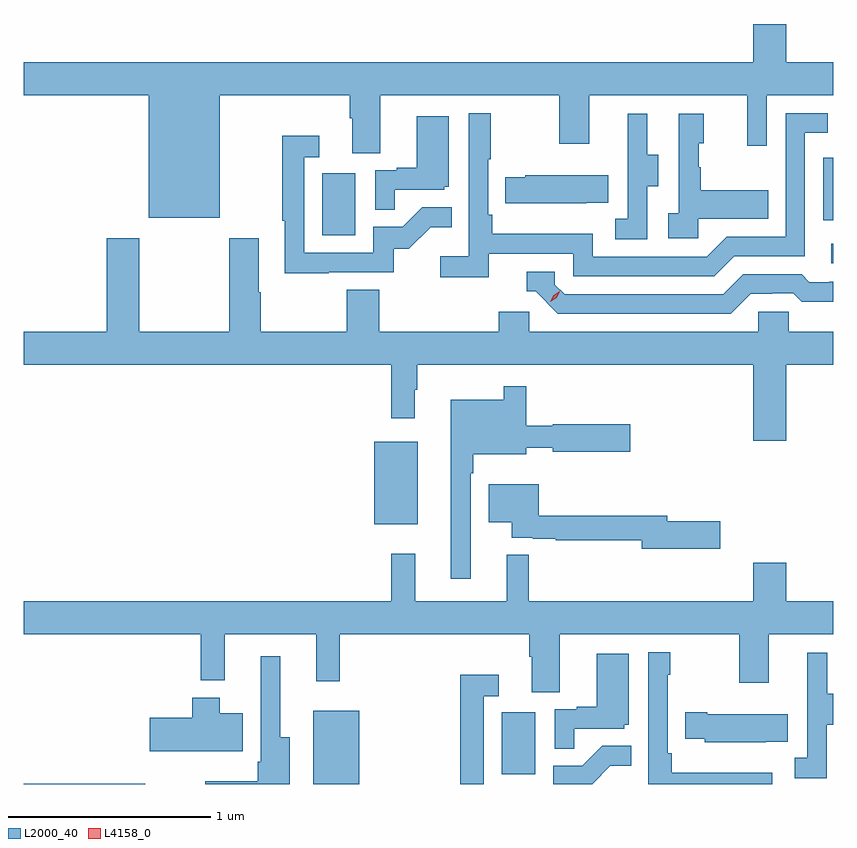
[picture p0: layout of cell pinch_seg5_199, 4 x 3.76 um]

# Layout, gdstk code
import gdstk
lib = gdstk.Library(unit=1e-6, precision=1e-09)
def R(c, l, rs):  # rectangles x0, y0, x1, y1
    for r in rs: c.add(gdstk.rectangle(r[:2], r[2:], *l))
def P(c, l, *ps):  # polygons
    for p in ps: c.add(gdstk.Polygon(p, *l))
L2000_40 = (2000, 40)
L4158_0 = (4158, 0)

pinch_seg5_199 = lib.new_cell('pinch_seg5_199')
R(pinch_seg5_199, L2000_40, [(988.575,893.316,989.175,893.318), (990.005,893.316,990.232,893.677), (990.938,893.364,991.102,893.671), (990.308,894.599,990.523,895.009), (992.565,895.89,992.575,895.986), (990.05,896.028,990.214,896.335), (992.526,896.103,992.575,896.412)])
P(pinch_seg5_199, L2000_40, [(989.542,896.72),(990.185,896.72),(990.185,896.608),(990.197,896.608),(990.197,896.434),(990.337,896.434),(990.337,896.72),(991.222,896.72),(991.222,896.481),(991.369,896.481),(991.369,896.72),(992.15,896.72),(992.15,896.472),(992.247,896.472),(992.247,896.72),(992.575,896.72),(992.575,896.884),(992.344,896.884),(992.344,897.073),(992.18,897.073),(992.18,896.884),(988.575,896.884),(988.575,896.72),(989.192,896.72),(989.192,896.114),(989.542,896.114)],
  [(990.872,895.938),(991.29,895.938),(991.29,895.827),(991.987,895.827),(992.086,895.926),(992.436,895.926),(992.436,896.535),(992.549,896.535),(992.549,896.631),(992.34,896.631),(992.34,896.022),(992.049,896.022),(991.95,895.923),(991.386,895.923),(991.386,896.035),(990.89,896.035),(990.89,896.131),(990.87,896.131),(990.87,896.404),(990.883,896.404),(990.883,896.632),(990.774,896.632),(990.774,895.924),(990.633,895.924),(990.633,895.822),(990.872,895.822)],
  [(991.908,896.111),(992.255,896.111),(992.255,896.251),(991.921,896.251),(991.921,896.366),(991.911,896.366),(991.911,896.484),(991.936,896.484),(991.936,896.629),(991.812,896.629),(991.812,896.138),(991.761,896.138),(991.761,896.013),(991.908,896.013)],
  [(991.656,896.272),(991.711,896.272),(991.711,896.427),(991.657,896.427),(991.657,896.629),(991.559,896.629),(991.559,896.415),(991.56,896.415),(991.56,896.111),(991.497,896.111),(991.497,896.008),(991.656,896.008)],
  [(990.407,896.253),(990.654,896.253),(990.654,896.268),(990.676,896.268),(990.676,896.617),(990.518,896.617),(990.518,896.362),(990.419,896.362),(990.419,896.349),(990.312,896.349),(990.312,896.155),(990.407,896.155)],
  [(990.083,895.845),(990.402,895.845),(990.402,895.962),(990.478,895.962),(990.585,896.069),(990.689,896.069),(990.689,896.168),(990.545,896.168),(990.447,896.07),(990.303,896.07),(990.303,895.941),(989.961,895.941),(989.961,896.415),(990.034,896.415),(990.034,896.521),(989.853,896.521),(989.853,896.101),(989.865,896.101),(989.865,895.84),(990.083,895.84)],
  [(991.355,896.189),(991.463,896.189),(991.463,896.326),(991.053,896.326),(991.053,896.316),(990.955,896.316),(990.955,896.186),(991.355,896.186)],
  [(992.344,895.388),(992.575,895.388),(992.575,895.552),(992.355,895.552),(992.355,895.65),(992.205,895.65),(992.205,895.552),(991.074,895.552),(991.074,895.65),(990.923,895.65),(990.923,895.552),(990.332,895.552),(990.332,895.76),(990.172,895.76),(990.172,895.552),(989.745,895.552),(989.745,895.748),(989.737,895.748),(989.737,896.014),(989.59,896.014),(989.59,895.552),(989.145,895.552),(989.145,896.014),(988.985,896.014),(988.985,895.552),(988.575,895.552),(988.575,895.388),(990.391,895.388),(990.391,895.125),(990.508,895.125),(990.508,895.265),(990.52,895.265),(990.52,895.388),(992.18,895.388),(992.18,895.014),(992.344,895.014)],
  [(992.167,895.74),(992.274,895.74),(992.274,895.743),(992.377,895.743),(992.419,895.701),(992.575,895.701),(992.575,895.8),(992.557,895.8),(992.557,895.797),(992.458,895.797),(992.419,895.836),(992.13,895.836),(992.031,895.737),(991.248,895.737),(991.2,895.785),(991.2,895.848),(991.061,895.848),(991.061,895.752),(991.104,895.752),(991.215,895.641),(992.068,895.641)],
  [(990.783,894.851),(990.796,894.851),(990.796,894.947),(991.057,894.947),(991.057,894.977),(991.188,894.977),(991.188,894.958),(991.573,894.958),(991.573,895.095),(991.188,895.095),(991.188,895.087),(991.057,895.087),(991.057,895.282),(990.948,895.282),(990.948,895.216),(990.686,895.216),(990.686,894.33),(990.783,894.33)],
  [(992.017,894.614),(991.756,894.614),(991.756,894.643),(991.121,894.643),(991.121,894.799),(990.872,894.799),(990.872,894.611),(990.986,894.611),(990.986,894.534),(991.09,894.534),(991.09,894.528),(991.204,894.528),(991.204,894.522),(991.628,894.522),(991.628,894.479),(992.017,894.479)],
  [(991.225,894.056),(992.11,894.056),(992.11,893.817),(992.257,893.817),(992.257,894.056),(992.575,894.056),(992.575,894.22),(992.344,894.22),(992.344,894.409),(992.18,894.409),(992.18,894.22),(991.07,894.22),(991.07,894.449),(990.962,894.449),(990.962,894.22),(990.509,894.22),(990.509,894.454),(990.391,894.454),(990.391,894.22),(988.575,894.22),(988.575,894.056),(989.449,894.056),(989.449,893.828),(989.567,893.828),(989.567,894.056),(990.02,894.056),(990.02,893.823),(990.137,893.823),(990.137,894.056),(991.073,894.056),(991.073,893.944),(991.085,893.944),(991.085,893.77),(991.225,893.77)],
  [(992.274,893.371),(991.778,893.371),(991.778,893.467),(991.758,893.467),(991.758,893.855),(991.771,893.855),(991.771,893.968),(991.662,893.968),(991.662,893.316),(992.274,893.316)],
  [(992.544,893.608),(992.575,893.608),(992.575,893.763),(992.545,893.763),(992.545,893.965),(992.447,893.965),(992.447,893.751),(992.448,893.751),(992.448,893.447),(992.385,893.447),(992.385,893.344),(992.544,893.344)],
  [(991.295,893.589),(991.542,893.589),(991.542,893.61),(991.564,893.61),(991.564,893.959),(991.406,893.959),(991.406,893.698),(991.307,893.698),(991.307,893.685),(991.2,893.685),(991.2,893.491),(991.295,893.491)],
  [(989.89,893.548),(989.842,893.548),(989.842,893.947),(989.745,893.947),(989.745,893.425),(989.732,893.425),(989.732,893.329),(989.471,893.329),(989.471,893.316),(989.89,893.316)],
  [(990.849,893.751),(990.922,893.751),(990.922,893.857),(990.733,893.857),(990.733,893.316),(990.849,893.316)],
  [(989.656,893.665),(989.542,893.665),(989.542,893.743),(989.408,893.743),(989.408,893.643),(989.196,893.643),(989.196,893.477),(989.656,893.477)],
  [(992.243,893.525),(992.351,893.525),(992.351,893.662),(991.954,893.662),(991.954,893.67),(991.843,893.67),(991.843,893.54),(991.941,893.54),(991.941,893.522),(992.243,893.522)],
  [(991.473,893.405),(991.577,893.405),(991.577,893.504),(991.433,893.504),(991.335,893.406),(991.191,893.406),(991.191,893.316),(991.384,893.316)])
P(pinch_seg5_199, L4158_0, [(991.177,895.699),(991.177,895.699),(991.193,895.732),(991.223,895.752),(991.223,895.752),(991.223,895.751),(991.208,895.719),(991.178,895.699)])

lib.write_gds('pinch_seg5_199.gds')
